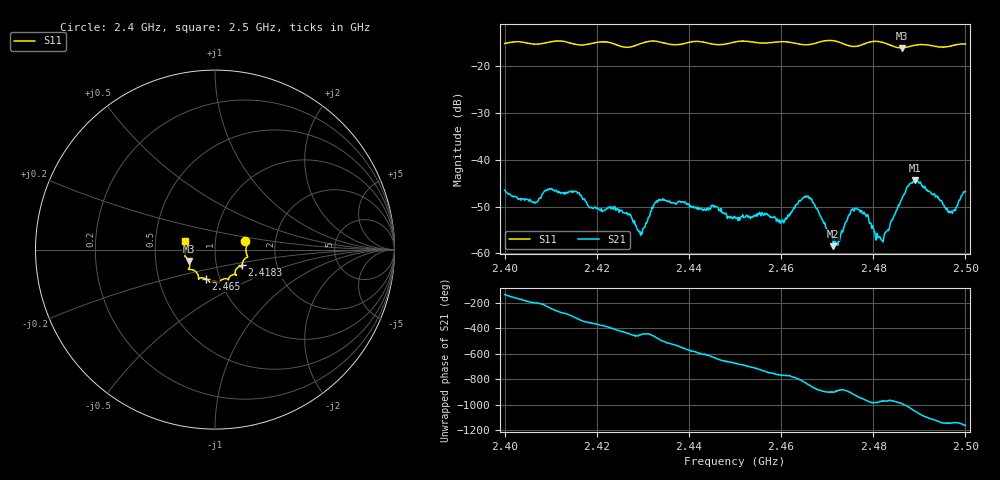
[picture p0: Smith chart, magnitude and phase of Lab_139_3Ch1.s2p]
# Hz S RI R 50
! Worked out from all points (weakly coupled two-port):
!   601 points, 2.4 GHz to 2.5 GHz, reference 50 ohm
!   highest |S21| = -44.42 dB at 2.489 GHz (marker M1); lowest = -58.5 dB at 2.4713 GHz (marker M2)
!   lowest |S11| = -16.1 dB at 2.4862 GHz (marker M3), VSWR 1.37, Z = 37.1 - j4.79 ohm
!   |S11| at or under -10 dB: start of sweep to end of sweep
!   S12 and S22 are empty: the file has one direction only
!   S11 on the Smith chart (normalised r, x): 2.4 GHz: 1.40, +0.13; 2.4183 GHz: 1.33, -0.24; 2.465 GHz: 0.86, -0.29; 2.5 GHz: 0.71, +0.07
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2.4e9  0.1693 0.0459  -0.00337 -0.00333  0 0  0 0
2.406333e9  0.1727 0.00523  -0.00322 0.00127  0 0  0 0
2.409833e9  0.179 -0.0339  -0.00251 0.00425  0 0  0 0
2.416667e9  0.1547 -0.0678  0.00378 0.0015  0 0  0 0
2.418333e9  0.1501 -0.087  0.00308 0.000219  0 0  0 0
2.426833e9  0.119 -0.1069  0.000326 -0.00262  0 0  0 0
2.429333e9  0.1126 -0.132  -3.77e-05 -0.00173  0 0  0 0
2.433333e9  0.1177 -0.141  -0.00195 -0.00311  0 0  0 0
2.45e9  0.025 -0.1807  0.00171 0.00165  0 0  0 0
2.460333e9  -0.0285 -0.1817  0.00147 -0.00174  0 0  0 0
2.465e9  -0.0526 -0.1617  -0.000803 -0.00391  0 0  0 0
2.466667e9  -0.0715 -0.1572  -0.00291 -0.00244  0 0  0 0
2.471333e9  -0.0917 -0.164  -0.00119 4.27e-05  0 0  0 0
2.472333e9  -0.0912 -0.1587  -0.0012 -0.000206  0 0  0 0
2.475833e9  -0.1086 -0.1217  -0.00266 0.000977  0 0  0 0
2.4785e9  -0.1382 -0.1108  -0.000983 0.00226  0 0  0 0
2.481667e9  -0.1465 -0.1081  -0.000388 0.00136  0 0  0 0
2.483333e9  -0.1415 -0.0964  -0.000608 0.00164  0 0  0 0
2.486167e9  -0.1441 -0.0629  0.000113 0.00375  0 0  0 0
2.489e9  -0.1629 -0.041  0.00516 0.00309  0 0  0 0
2.496667e9  -0.1624 0.0242  0.00114 -0.00257  0 0  0 0
2.5e9  -0.1672 0.047  0.000515 -0.00457  0 0  0 0
